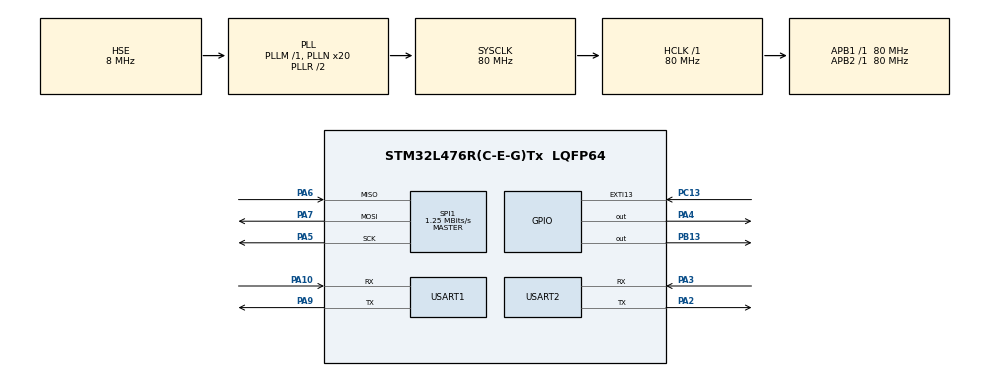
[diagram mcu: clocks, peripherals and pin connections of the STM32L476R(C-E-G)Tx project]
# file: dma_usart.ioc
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Mcu.Family=STM32L4
FREERTOS.Queues01=myQueue01,16,64,1,Dynamic,NULL,NULL
PA6.Mode=Full_Duplex_Master
RCC.CortexFreq_Value=80000000
FREERTOS.BinarySemaphores01=myBinarySem01,Dynamic,NULL
NVIC.DMA1_Channel5_IRQn=true\:5\:0\:false\:false\:true\:true\:false\:true
SPI1.VirtualType=VM_MASTER
PH0-OSC_IN\ (PH0).Signal=RCC_OSC_IN
PB13.Signal=GPIO_Output
Dma.USART2_RX.1.MemDataAlignment=DMA_MDATAALIGN_BYTE
RCC.SYSCLKSource=RCC_SYSCLKSOURCE_PLLCLK
ProjectManager.StackSize=0x400
VP_FREERTOS_VS_CMSIS_V2.Mode=CMSIS_V2
PA14\ (JTCK-SWCLK).Signal=SYS_JTCK-SWCLK
SPI1.Direction=SPI_DIRECTION_2LINES
RCC.HCLKFreq_Value=80000000
RCC.APB2TimFreq_Value=80000000
TIM3.Period=2000
Dma.USART2_RX.1.PeriphInc=DMA_PINC_DISABLE
SPI1.CalculateBaudRate=1.25 MBits/s
Dma.USART2_RX.1.MemInc=DMA_MINC_ENABLE
RCC.AHBFreq_Value=80000000
Dma.USART1_RX.0.Priority=DMA_PRIORITY_LOW
NVIC.EXTI15_10_IRQn=true\:5\:0\:false\:false\:true\:true\:true\:true
PH1-OSC_OUT\ (PH1).Mode=HSE-External-Oscillator
RCC.HSE_VALUE=8000000
PA4.GPIO_PuPd=GPIO_PULLDOWN
USART2.VirtualMode-Asynchronous=VM_ASYNC
PA4.GPIO_Speed=GPIO_SPEED_FREQ_MEDIUM
TIM3.Prescaler=60000
SPI1.DataSize=SPI_DATASIZE_8BIT
PC13.GPIO_PuPd=GPIO_PULLUP
Dma.USART1_RX.0.MemInc=DMA_MINC_ENABLE
Mcu.Package=LQFP64
PA6.Signal=SPI1_MISO
NVIC.TimeBase=TIM4_IRQn
NVIC.TimeBaseIP=TIM4
PA10.Signal=USART1_RX
PA4.GPIO_ModeDefaultOutputPP=GPIO_MODE_OUTPUT_PP
Dma.Request1=USART2_RX
RCC.APB1TimFreq_Value=80000000
Dma.USART1_RX.0.Mode=DMA_CIRCULAR
PA13\ (JTMS-SWDIO).Signal=SYS_JTMS-SWDIO
NVIC.USART1_IRQn=true\:5\:0\:false\:false\:true\:true\:true\:true
Dma.USART2_RX.1.Mode=DMA_CIRCULAR
Dma.Request0=USART1_RX
SPI1.BaudRatePrescaler=SPI_BAUDRATEPRESCALER_64
PH0-OSC_IN\ (PH0).Mode=HSE-External-Oscillator
Dma.USART1_RX.0.Instance=DMA1_Channel5
VP_TIM3_VS_ClockSourceINT.Mode=Internal
PA3.Signal=USART2_RX
PA5.Mode=Full_Duplex_Master
RCC.MSI_VALUE=4000000
RCC.PLLSourceVirtual=RCC_PLLSOURCE_HSE
PA14\ (JTCK-SWCLK).Mode=Serial_Wire
NVIC.DMA1_Channel6_IRQn=true\:5\:0\:false\:false\:true\:true\:false\:true
Dma.USART2_RX.1.Priority=DMA_PRIORITY_LOW
FREERTOS.Tasks01=defaultTask,24,128,StartDefaultTask,Default,NULL,Dynamic,NULL,NULL
PA7.Mode=Full_Duplex_Master
Dma.USART1_RX.0.PeriphDataAlignment=DMA_PDATAALIGN_BYTE
PA10.Mode=Asynchronous
PC13.Signal=GPXTI13
NVIC.USART2_IRQn=true\:5\:0\:false\:false\:true\:true\:true\:true
PH1-OSC_OUT\ (PH1).Signal=RCC_OSC_OUT
USART1.VirtualMode-Asynchronous=VM_ASYNC
PA3.Mode=Asynchronous
PA9.Mode=Asynchronous
PA4.PinState=GPIO_PIN_RESET
ProjectManager.TargetToolchain=MDK-ARM V5.27
Dma.USART1_RX.0.Direction=DMA_PERIPH_TO_MEMORY
PA9.Signal=USART1_TX
RCC.USBFreq_Value=32000000
RCC.LSE_VALUE=32768
Dma.USART1_RX.0.PeriphInc=DMA_PINC_DISABLE
Dma.USART2_RX.1.Instance=DMA1_Channel6
VP_FATFS_VS_Generic.Mode=User_defined
Dma.USART2_RX.1.Direction=DMA_PERIPH_TO_MEMORY
PA5.Signal=SPI1_SCK
Dma.USART2_RX.1.PeriphDataAlignment=DMA_PDATAALIGN_BYTE
board=custom
RCC.VCOOutputFreq_Value=160000000
NVIC.TIM3_IRQn=true\:5\:0\:false\:false\:true\:true\:true\:true
PB13.GPIO_PuPd=GPIO_PULLDOWN
RCC.APB2Freq_Value=80000000
SPI1.Mode=SPI_MODE_MASTER
RCC.ADCFreq_Value=32000000
Dma.USART1_RX.0.MemDataAlignment=DMA_MDATAALIGN_BYTE
Mcu.Name=STM32L476R(C-E-G)Tx
PA2.Signal=USART2_TX
PA13\ (JTMS-SWDIO).Mode=Serial_Wire
PA4.Signal=GPIO_Output
RCC.SYSCLKFreq_VALUE=80000000
ProjectManager.HeapSize=0x200
VP_SYS_VS_tim4.Mode=TIM4
RCC.HSI_VALUE=16000000
NVIC.PriorityGroup=NVIC_PRIORITYGROUP_4
RCC.PLLN=20
PA2.Mode=Asynchronous
TIM3.TIM_MasterOutputTrigger=TIM_TRGO_UPDATE
NVIC.TIM4_IRQn=true\:0\:0\:false\:false\:true\:false\:false\:true
RCC.APB1Freq_Value=80000000
PA7.Signal=SPI1_MOSI

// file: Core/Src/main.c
/* USER CODE BEGIN Header */
/**
  ******************************************************************************
  * @file           : main.c
  * @brief          : Main program body
  ******************************************************************************
  * @attention
  *
  * <h2><center>&copy; Copyright (c) 2021 STMicroelectronics.
  * All rights reserved.</center></h2>
  *
  * This software component is licensed by ST under BSD 3-Clause license,
  * the "License"; You may not use this file except in compliance with the
  * License. You may obtain a copy of the License at:
  *                        opensource.org/licenses/BSD-3-Clause
  *
  ******************************************************************************
  */
/* USER CODE END Header */
#include "main.h"
#include "cmsis_os.h"
#include "fatfs.h"

/* USER CODE BEGIN Includes */

#include <stdlib.h>
#include <string.h>
#include <stdio.h>
#include "File_Handling_RTOS.h"

/* USER CODE END Includes */

/* USER CODE BEGIN PM */

//#define buff_len  64

/* USER CODE END PM */

SPI_HandleTypeDef hspi1;

TIM_HandleTypeDef htim3;

UART_HandleTypeDef huart1;
UART_HandleTypeDef huart2;
DMA_HandleTypeDef hdma_usart1_rx;
DMA_HandleTypeDef hdma_usart2_rx;

/* Definitions for defaultTask */
osThreadId_t defaultTaskHandle;
const osThreadAttr_t defaultTask_attributes = {
  .name = "defaultTask",
  .priority = (osPriority_t) osPriorityNormal,
  .stack_size = 128 * 8
};
/* Definitions for myQueue01 */
osMessageQueueId_t myQueue01Handle;
const osMessageQueueAttr_t myQueue01_attributes = {
  .name = "myQueue01"
};
/* Definitions for myBinarySem01 */
osSemaphoreId_t myBinarySem01Handle;
const osSemaphoreAttr_t myBinarySem01_attributes = {
  .name = "myBinarySem01"
};
/* USER CODE BEGIN PV */

//#define USART_BUF_SIZE  64

/* USER CODE END PV */

void SystemClock_Config(void);
static void MX_GPIO_Init(void);
static void MX_DMA_Init(void);
static void MX_USART1_UART_Init(void);
static void MX_SPI1_Init(void);
static void MX_TIM3_Init(void);
static void MX_USART2_UART_Init(void);
void StartDefaultTask(void *argument);

/* USER CODE BEGIN PFP */

void USER_Usart3_Init(void);
void timer_init(void);

/* USER CODE END PFP */

/* USER CODE BEGIN 0 */

uint8_t Buff[128];

uint8_t rxBuffer[1024];
//char rxData[64] = "Alexander\r\n";

uint8_t data[256];
uint8_t cnt = 0;

uint32_t size = 0;

MY_Struct str;

//MY_Struct strc;

//osStatus_t status2;

/* USER CODE END 0 */

int main(void)
{

  /* MCU Configuration--------------------------------------------------------*/

  /* Reset of all peripherals, Initializes the Flash interface and the Systick. */
  HAL_Init();

  /* Configure the system clock */
  SystemClock_Config();

  /* Initialize all configured peripherals */
  MX_GPIO_Init();
  MX_DMA_Init();
  MX_USART1_UART_Init();
  MX_FATFS_Init();
  MX_SPI1_Init();
  MX_TIM3_Init();
  MX_USART2_UART_Init();
  /* USER CODE BEGIN 2 */

  //NVIC_EnableIRQ(USART3_IRQn);
  //NVIC_EnableIRQ (TIM1_UP_TIM16_IRQn);
  USER_Usart3_Init();
  //timer_init();
	//TIM16->CR1   |=  TIM_CR1_CEN | TIM_CR1_ARPE;
	//NVIC_EnableIRQ (TIM1_UP_TIM16_IRQn);

	//HAL_TIM_Base_Start(&htim3);  // us delay timer
  //HAL_TIM_Base_Start_IT(&htim3); // periodic delay timer
	//NVIC_EnableIRQ (TIM3_IRQn);

//	Mount_SD("/");
//  Format_SD();
//  Create_File("ADC_DATA.TXT");
//  Create_File("TEMP.TXT");
//  Unmount_SD("/");

  //NVIC_EnableIRQ(DMA1_Channel3_IRQn);

  //HAL_UART_Receive_DMA (&huart3, rcvBuffer, 1);

//  usart_send_string("USART DMA example: DMA HT & TC + USART IDLE LINE interrupts\r\n");
//  usart_send_string("Start sending data to STM32\r\n");

  /* USER CODE END 2 */

  /* Init scheduler */
  osKernelInitialize();

  /* Create the semaphores(s) */
  /* creation of myBinarySem01 */
  myBinarySem01Handle = osSemaphoreNew(1, 1, &myBinarySem01_attributes);

  /* Create the queue(s) */
  /* creation of myQueue01 */
  myQueue01Handle = osMessageQueueNew (16, sizeof(uint16_t), &myQueue01_attributes);

  /* Create the thread(s) */
  /* creation of defaultTask */
  defaultTaskHandle = osThreadNew(StartDefaultTask, NULL, &defaultTask_attributes);

  /* Start scheduler */
  osKernelStart();

  /* We should never get here as control is now taken by the scheduler */
  /* Infinite loop */
  while (1)
  {

  }
}

void SystemClock_Config(void)
{
  RCC_OscInitTypeDef RCC_OscInitStruct = {0};
  RCC_ClkInitTypeDef RCC_ClkInitStruct = {0};
  RCC_PeriphCLKInitTypeDef PeriphClkInit = {0};

  /** Initializes the RCC Oscillators according to the specified parameters
  * in the RCC_OscInitTypeDef structure.
  */
  RCC_OscInitStruct.OscillatorType = RCC_OSCILLATORTYPE_HSE;
  RCC_OscInitStruct.HSEState = RCC_HSE_ON;
  RCC_OscInitStruct.PLL.PLLState = RCC_PLL_ON;
  RCC_OscInitStruct.PLL.PLLSource = RCC_PLLSOURCE_HSE;
  RCC_OscInitStruct.PLL.PLLM = 1;
  RCC_OscInitStruct.PLL.PLLN = 20;
  RCC_OscInitStruct.PLL.PLLP = RCC_PLLP_DIV7;
  RCC_OscInitStruct.PLL.PLLQ = RCC_PLLQ_DIV2;
  RCC_OscInitStruct.PLL.PLLR = RCC_PLLR_DIV2;
  if (HAL_RCC_OscConfig(&RCC_OscInitStruct) != HAL_OK)
  {
    Error_Handler();
  }
  /** Initializes the CPU, AHB and APB buses clocks
  */
  RCC_ClkInitStruct.ClockType = RCC_CLOCKTYPE_HCLK|RCC_CLOCKTYPE_SYSCLK
                              |RCC_CLOCKTYPE_PCLK1|RCC_CLOCKTYPE_PCLK2;
  RCC_ClkInitStruct.SYSCLKSource = RCC_SYSCLKSOURCE_PLLCLK;
  RCC_ClkInitStruct.AHBCLKDivider = RCC_SYSCLK_DIV1;
  RCC_ClkInitStruct.APB1CLKDivider = RCC_HCLK_DIV1;
  RCC_ClkInitStruct.APB2CLKDivider = RCC_HCLK_DIV1;

  if (HAL_RCC_ClockConfig(&RCC_ClkInitStruct, FLASH_LATENCY_4) != HAL_OK)
  {
    Error_Handler();
  }
  PeriphClkInit.PeriphClockSelection = RCC_PERIPHCLK_USART1|RCC_PERIPHCLK_USART2;
  PeriphClkInit.Usart1ClockSelection = RCC_USART1CLKSOURCE_PCLK2;
  PeriphClkInit.Usart2ClockSelection = RCC_USART2CLKSOURCE_PCLK1;
  if (HAL_RCCEx_PeriphCLKConfig(&PeriphClkInit) != HAL_OK)
  {
    Error_Handler();
  }
  /** Configure the main internal regulator output voltage
  */
  if (HAL_PWREx_ControlVoltageScaling(PWR_REGULATOR_VOLTAGE_SCALE1) != HAL_OK)
  {
    Error_Handler();
  }
}

static void MX_SPI1_Init(void)
{

  /* SPI1 parameter configuration*/
  hspi1.Instance = SPI1;
  hspi1.Init.Mode = SPI_MODE_MASTER;
  hspi1.Init.Direction = SPI_DIRECTION_2LINES;
  hspi1.Init.DataSize = SPI_DATASIZE_8BIT;
  hspi1.Init.CLKPolarity = SPI_POLARITY_LOW;
  hspi1.Init.CLKPhase = SPI_PHASE_1EDGE;
  hspi1.Init.NSS = SPI_NSS_SOFT;
  hspi1.Init.BaudRatePrescaler = SPI_BAUDRATEPRESCALER_64;
  hspi1.Init.FirstBit = SPI_FIRSTBIT_MSB;
  hspi1.Init.TIMode = SPI_TIMODE_DISABLE;
  hspi1.Init.CRCCalculation = SPI_CRCCALCULATION_DISABLE;
  hspi1.Init.CRCPolynomial = 7;
  hspi1.Init.CRCLength = SPI_CRC_LENGTH_DATASIZE;
  hspi1.Init.NSSPMode = SPI_NSS_PULSE_ENABLE;
  if (HAL_SPI_Init(&hspi1) != HAL_OK)
  {
    Error_Handler();
  }

}

static void MX_TIM3_Init(void)
{

  TIM_ClockConfigTypeDef sClockSourceConfig = {0};
  TIM_MasterConfigTypeDef sMasterConfig = {0};

  htim3.Instance = TIM3;
  htim3.Init.Prescaler = 60000;
  htim3.Init.CounterMode = TIM_COUNTERMODE_UP;
  htim3.Init.Period = 2000;
  htim3.Init.ClockDivision = TIM_CLOCKDIVISION_DIV1;
  htim3.Init.AutoReloadPreload = TIM_AUTORELOAD_PRELOAD_DISABLE;
  if (HAL_TIM_Base_Init(&htim3) != HAL_OK)
  {
    Error_Handler();
  }
  sClockSourceConfig.ClockSource = TIM_CLOCKSOURCE_INTERNAL;
  if (HAL_TIM_ConfigClockSource(&htim3, &sClockSourceConfig) != HAL_OK)
  {
    Error_Handler();
  }
  sMasterConfig.MasterOutputTrigger = TIM_TRGO_UPDATE;
  sMasterConfig.MasterSlaveMode = TIM_MASTERSLAVEMODE_DISABLE;
  if (HAL_TIMEx_MasterConfigSynchronization(&htim3, &sMasterConfig) != HAL_OK)
  {
    Error_Handler();
  }

}

static void MX_USART1_UART_Init(void)
{

  huart1.Instance = USART1;
  huart1.Init.BaudRate = 115200;
  huart1.Init.WordLength = UART_WORDLENGTH_8B;
  huart1.Init.StopBits = UART_STOPBITS_1;
  huart1.Init.Parity = UART_PARITY_NONE;
  huart1.Init.Mode = UART_MODE_TX_RX;
  huart1.Init.HwFlowCtl = UART_HWCONTROL_NONE;
  huart1.Init.OverSampling = UART_OVERSAMPLING_16;
  huart1.Init.OneBitSampling = UART_ONE_BIT_SAMPLE_DISABLE;
  huart1.AdvancedInit.AdvFeatureInit = UART_ADVFEATURE_NO_INIT;
  if (HAL_UART_Init(&huart1) != HAL_OK)
  {
    Error_Handler();
  }

}

static void MX_USART2_UART_Init(void)
{

  huart2.Instance = USART2;
  huart2.Init.BaudRate = 115200;
  huart2.Init.WordLength = UART_WORDLENGTH_8B;
  huart2.Init.StopBits = UART_STOPBITS_1;
  huart2.Init.Parity = UART_PARITY_NONE;
  huart2.Init.Mode = UART_MODE_TX_RX;
  huart2.Init.HwFlowCtl = UART_HWCONTROL_NONE;
  huart2.Init.OverSampling = UART_OVERSAMPLING_16;
  huart2.Init.OneBitSampling = UART_ONE_BIT_SAMPLE_DISABLE;
  huart2.AdvancedInit.AdvFeatureInit = UART_ADVFEATURE_NO_INIT;
  if (HAL_UART_Init(&huart2) != HAL_OK)
  {
    Error_Handler();
  }

}

static void MX_DMA_Init(void)
{

  /* DMA controller clock enable */
  __HAL_RCC_DMA1_CLK_ENABLE();

  /* DMA interrupt init */
  /* DMA1_Channel5_IRQn interrupt configuration */
  HAL_NVIC_SetPriority(DMA1_Channel5_IRQn, 5, 0);
  HAL_NVIC_EnableIRQ(DMA1_Channel5_IRQn);
  /* DMA1_Channel6_IRQn interrupt configuration */
  HAL_NVIC_SetPriority(DMA1_Channel6_IRQn, 5, 0);
  HAL_NVIC_EnableIRQ(DMA1_Channel6_IRQn);

}

static void MX_GPIO_Init(void)
{
  GPIO_InitTypeDef GPIO_InitStruct = {0};

  /* GPIO Ports Clock Enable */
  __HAL_RCC_GPIOC_CLK_ENABLE();
  __HAL_RCC_GPIOH_CLK_ENABLE();
  __HAL_RCC_GPIOA_CLK_ENABLE();
  __HAL_RCC_GPIOB_CLK_ENABLE();

  /*Configure GPIO pin Output Level */
  HAL_GPIO_WritePin(GPIOA, GPIO_PIN_4, GPIO_PIN_RESET);

  /*Configure GPIO pin Output Level */
  HAL_GPIO_WritePin(GPIOB, GPIO_PIN_13, GPIO_PIN_RESET);

  /*Configure GPIO pin : PC13 */
  GPIO_InitStruct.Pin = GPIO_PIN_13;
  GPIO_InitStruct.Mode = GPIO_MODE_IT_RISING;
  GPIO_InitStruct.Pull = GPIO_PULLUP;
  HAL_GPIO_Init(GPIOC, &GPIO_InitStruct);

  /*Configure GPIO pin : PA4 */
  GPIO_InitStruct.Pin = GPIO_PIN_4;
  GPIO_InitStruct.Mode = GPIO_MODE_OUTPUT_PP;
  GPIO_InitStruct.Pull = GPIO_PULLDOWN;
  GPIO_InitStruct.Speed = GPIO_SPEED_FREQ_MEDIUM;
  HAL_GPIO_Init(GPIOA, &GPIO_InitStruct);

  /*Configure GPIO pin : PB13 */
  GPIO_InitStruct.Pin = GPIO_PIN_13;
  GPIO_InitStruct.Mode = GPIO_MODE_OUTPUT_PP;
  GPIO_InitStruct.Pull = GPIO_PULLDOWN;
  GPIO_InitStruct.Speed = GPIO_SPEED_FREQ_LOW;
  HAL_GPIO_Init(GPIOB, &GPIO_InitStruct);

  /* EXTI interrupt init*/
  HAL_NVIC_SetPriority(EXTI15_10_IRQn, 5, 0);
  HAL_NVIC_EnableIRQ(EXTI15_10_IRQn);

}

/* USER CODE BEGIN 4 */

void USER_Usart3_Init(void)
    {
    	if(HAL_UART_Receive_DMA(&huart2, (uint8_t *)rxBuffer, 64) == HAL_OK)
    	{
    		__HAL_UART_ENABLE_IT(&huart2, UART_IT_IDLE);
    		printf("STM32F207 Ready!\r\n");
    	}
    	else
    	{
    		printf("Err: USER_Usart3_Init\r\n");
    		//FAILEDProc();
    	}
    }
//***********************************

/* USER CODE END 4 */

void StartDefaultTask(void *argument)
{
  /* USER CODE BEGIN 5 */
  /* Infinite loop */
  osStatus_t status;
  //MY_Struct str;
	//char* data = "Alexander";

  for(;;)
  {
    //MY_Struct *str;// = pvPortMalloc(sizeof (MY_Struct));;
    status = osMessageQueueGet(myQueue01Handle, &str, NULL, 0);

    if(status == osOK)
    {
//      Mount_SD("/");
//      Update_File ("TEMP.TXT", (char*)str.buff);
      HAL_UART_Transmit(&huart2, (uint8_t*)&str, strlen((char*)str.buff), 0xffff);
      //size = Size_File("TEMP.TXT");
      //Unmount_SD("/");

      //vPortFree(str);
    }

    //osDelay(200);
  }

  /* USER CODE END 5 */
}

 /**
  * @brief  Period elapsed callback in non blocking mode
  * @note   This function is called  when TIM4 interrupt took place, inside
  * HAL_TIM_IRQHandler(). It makes a direct call to HAL_IncTick() to increment
  * a global variable "uwTick" used as application time base.
  * @param  htim : TIM handle
  * @retval None
  */
void HAL_TIM_PeriodElapsedCallback(TIM_HandleTypeDef *htim)
{
  if (htim->Instance == TIM4) {
    HAL_IncTick();
  }
}

void Error_Handler(void)
{
  __disable_irq();
  while (1)
  {
  }
}

/************************ (C) COPYRIGHT STMicroelectronics *****END OF FILE****/
